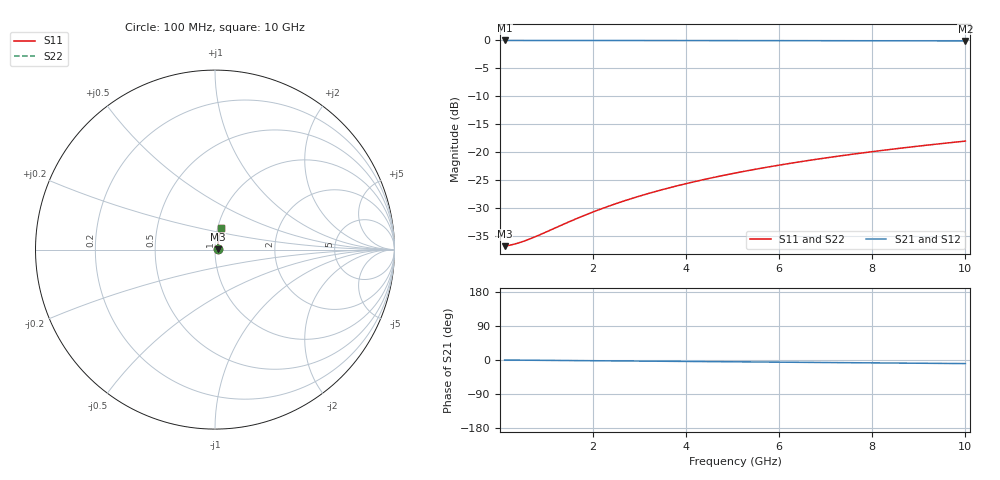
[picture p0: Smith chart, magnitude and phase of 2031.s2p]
# Hz S RI R 50.00
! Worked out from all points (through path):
!   100 points, 100 MHz to 10 GHz, reference 50 ohm
!   highest |S21| = -0.13 dB at 100 MHz (marker M1); lowest = -0.2 dB at 10 GHz (marker M2)
!   group delay of S21, straight-line fit = 2.63 ps
!   lowest |S11| = -36.8 dB at 100 MHz (marker M3), VSWR 1.03, Z = 51.5 + j0.126 ohm
!   |S11| at or under -10 dB: start of sweep to end of sweep
!   |S22| runs from -36.8 to -18.1 dB; largest |S21 - S12| = 0
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1e8  0.0143 0.00122  0.9857 -0.00163  0.9857 -0.00163  0.0143 0.00122
2e8  0.0144 0.00244  0.9856 -0.00326  0.9856 -0.00326  0.0144 0.00244
3e8  0.0145 0.00366  0.9855 -0.00489  0.9855 -0.00489  0.0145 0.00366
4e8  0.0146 0.00488  0.9854 -0.00652  0.9854 -0.00652  0.0146 0.00488
6e8  0.0147 0.00732  0.9853 -0.00978  0.9853 -0.00978  0.0147 0.00732
8e8  0.0148 0.00976  0.9852 -0.013  0.9852 -0.013  0.0148 0.00976
1.5e9  0.0153 0.0183  0.9846 -0.0244  0.9846 -0.0244  0.0153 0.0183
1.8e9  0.0156 0.0219  0.9844 -0.0293  0.9844 -0.0293  0.0156 0.0219
2.2e9  0.016 0.0268  0.984 -0.0358  0.984 -0.0358  0.016 0.0268
2.6e9  0.0164 0.0317  0.9835 -0.0423  0.9835 -0.0423  0.0164 0.0317
3e9  0.0169 0.0365  0.983 -0.0488  0.983 -0.0488  0.0169 0.0365
3.4e9  0.0175 0.0413  0.9824 -0.0553  0.9824 -0.0553  0.0175 0.0413
3.8e9  0.0181 0.0462  0.9818 -0.0618  0.9818 -0.0618  0.0181 0.0462
4.2e9  0.0188 0.051  0.981 -0.0683  0.981 -0.0683  0.0188 0.051
4.6e9  0.0195 0.0558  0.9803 -0.0747  0.9803 -0.0747  0.0195 0.0558
5.1e9  0.0206 0.0618  0.9792 -0.0828  0.9792 -0.0828  0.0206 0.0618
5.9e9  0.0224 0.0714  0.9773 -0.0956  0.9773 -0.0956  0.0224 0.0714
6.7e9  0.0245 0.0809  0.9751 -0.1084  0.9751 -0.1084  0.0245 0.0809
7.5e9  0.0268 0.0903  0.9727 -0.1212  0.9727 -0.1212  0.0268 0.0903
8.4e9  0.0297 0.1009  0.9696 -0.1354  0.9696 -0.1354  0.0297 0.1009
9.2e9  0.0326 0.1101  0.9667 -0.148  0.9667 -0.148  0.0326 0.1101
1e10  0.0357 0.1193  0.9635 -0.1605  0.9635 -0.1605  0.0357 0.1193
